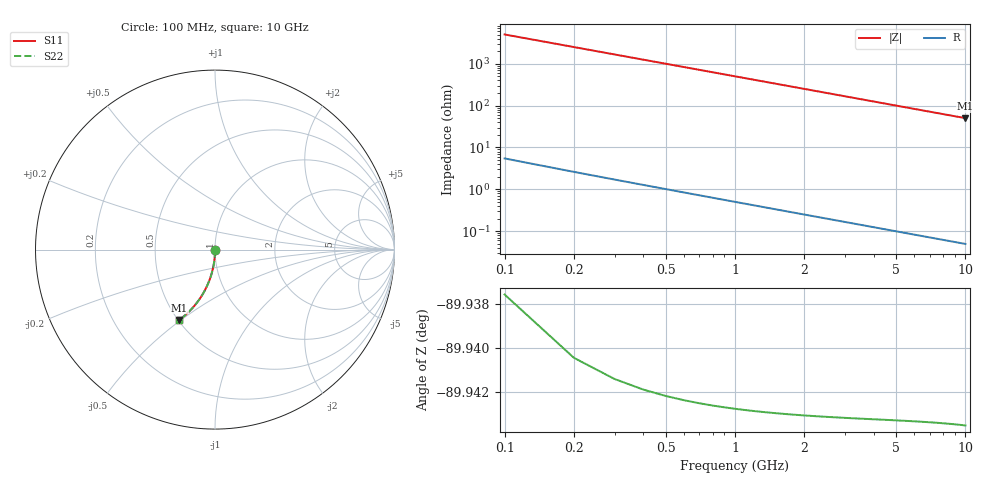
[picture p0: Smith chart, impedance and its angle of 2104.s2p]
# Hz S RI R 50.00
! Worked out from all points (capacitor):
!   100 points, 100 MHz to 10 GHz, reference 50 ohm
!   read as one part in shunt: C = 317 fF near 100 MHz
!   lowest |Z| = 50.2 ohm at 10 GHz (marker M1)
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1e8  -1.53e-05 -0.00491  1 -0.00505  1 -0.00505  -1.53e-05 -0.00491
2e8  -9.44e-05 -0.00981  0.9999 -0.0101  0.9999 -0.0101  -9.44e-05 -0.00981
3e8  -0.000223 -0.0147  0.9997 -0.0151  0.9997 -0.0151  -0.000223 -0.0147
4e8  -0.000401 -0.0196  0.9996 -0.0202  0.9996 -0.0202  -0.000401 -0.0196
5e8  -0.000629 -0.0245  0.9993 -0.0252  0.9993 -0.0252  -0.000629 -0.0245
6e8  -0.000906 -0.0294  0.9991 -0.0303  0.9991 -0.0303  -0.000906 -0.0294
7e8  -0.00123 -0.0343  0.9987 -0.0353  0.9987 -0.0353  -0.00123 -0.0343
8e8  -0.00161 -0.0392  0.9984 -0.0403  0.9984 -0.0403  -0.00161 -0.0392
9e8  -0.00203 -0.0441  0.9979 -0.0453  0.9979 -0.0453  -0.00203 -0.0441
1.1e9  -0.00303 -0.0538  0.9969 -0.0554  0.9969 -0.0554  -0.00303 -0.0538
1.4e9  -0.00489 -0.0684  0.9951 -0.0703  0.9951 -0.0703  -0.00489 -0.0684
1.8e9  -0.00804 -0.0876  0.9919 -0.0902  0.9919 -0.0902  -0.00804 -0.0876
2.1e9  -0.0109 -0.102  0.9891 -0.1049  0.9891 -0.1049  -0.0109 -0.102
2.5e9  -0.0154 -0.1208  0.9846 -0.1244  0.9846 -0.1244  -0.0154 -0.1208
2.9e9  -0.0206 -0.1394  0.9794 -0.1435  0.9794 -0.1435  -0.0206 -0.1394
3.4e9  -0.028 -0.1623  0.9719 -0.1671  0.9719 -0.1671  -0.028 -0.1623
4.2e9  -0.0422 -0.1975  0.9578 -0.2035  0.9578 -0.2035  -0.0422 -0.1975
5.1e9  -0.0609 -0.2351  0.939 -0.2424  0.939 -0.2424  -0.0609 -0.2351
5.9e9  -0.0799 -0.2665  0.92 -0.2749  0.92 -0.2749  -0.0799 -0.2665
6.7e9  -0.1007 -0.2957  0.8992 -0.3053  0.8992 -0.3053  -0.1007 -0.2957
8.4e9  -0.1497 -0.3503  0.8501 -0.3624  0.8501 -0.3624  -0.1497 -0.3503
1e10  -0.1998 -0.3921  0.8001 -0.4066  0.8001 -0.4066  -0.1998 -0.3921
